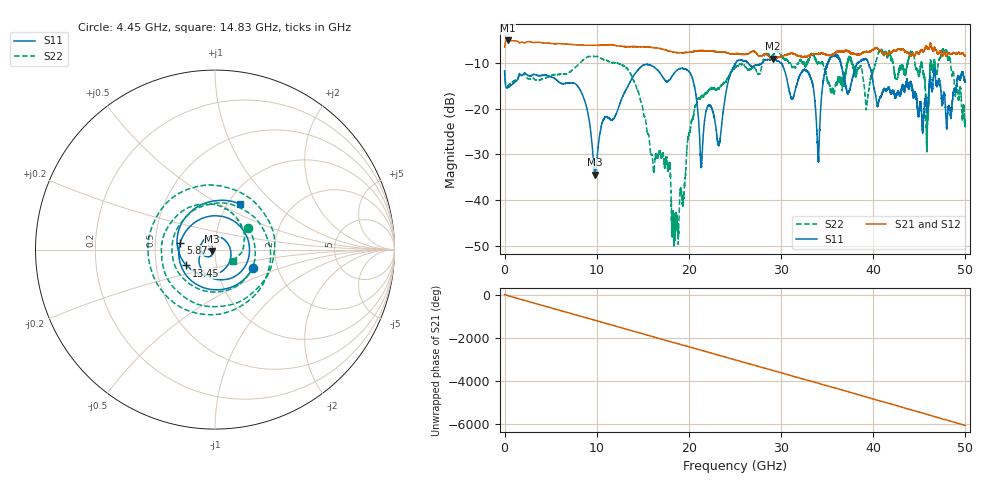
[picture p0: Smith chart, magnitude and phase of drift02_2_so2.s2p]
!Created with skrf (http://scikit-rf.org).
# Hz S RI R 50.0
!freq ReS11 ImS11 ReS21 ImS21 ReS12 ImS12 ReS22 ImS22
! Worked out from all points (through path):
!   10001 points, 300 kHz to 50 GHz, reference 50 ohm
!   highest |S21| = -5.04 dB at 325.3 MHz (marker M1); lowest = -9.0 dB at 29.09 GHz (marker M2)
!   group delay of S21, straight-line fit = 336 ps
!   lowest |S11| = -34.4 dB at 9.83 GHz (marker M3), VSWR 1.04, Z = 48.4 - j0.993 ohm
!   |S11| at or under -10 dB: start of sweep to 25.08 GHz; 30.01 GHz to 35.06 GHz (5.058 GHz wide, 15.5 % of centre); 39.47 GHz to end of sweep (the widest 3 of 10)
!   |S22| runs from -50.1 to -6.8 dB; largest |S21 - S12| = 0.022
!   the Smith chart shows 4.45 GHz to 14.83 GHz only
!   S11 on the Smith chart (normalised r, x): 4.45 GHz: 1.49, -0.33; 5.87 GHz: 0.67, +0.06; 13.45 GHz: 0.72, -0.13; 14.83 GHz: 1.14, +0.63
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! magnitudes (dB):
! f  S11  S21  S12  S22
! 300 kHz  -11.7  -6.5  -6.4  -11.6
! 325.3 MHz  -15.4  -5.0  -5.0  -15.0
! 4.45 GHz  -12.6  -5.6  -5.6  -13.3
! 5.87 GHz  -14.1  -5.7  -5.7  -12.5
! 8.335 GHz  -16.4  -6.0  -6.0  -9.7
! 9.83 GHz  -34.4  -6.1  -6.1  -8.6
! 13.45 GHz  -14.8  -6.4  -6.4  -11.6
! 14.83 GHz  -10.8  -6.4  -6.4  -18.6
! 16.67 GHz  -11.7  -6.7  -6.7  -30.1
! 18.63 GHz  -11.7  -7.7  -7.7  -43.3
! 20.37 GHz  -13.3  -7.5  -7.5  -22.4
! 21.36 GHz  -32.7  -7.3  -7.3  -17.2
! 23.3 GHz  -27.7  -7.6  -7.6  -15.5
! 25 GHz  -10.3  -8.0  -8.0  -11.1
! 29.09 GHz  -9.1  -9.0  -9.0  -8.3
! 33.34 GHz  -14.0  -8.1  -8.2  -8.1
! 34.02 GHz  -31.5  -7.9  -8.0  -10.0
! 35.52 GHz  -8.5  -8.2  -8.1  -16.0
! 41.67 GHz  -15.3  -7.7  -7.8  -7.5
! 45.85 GHz  -20.5  -6.7  -6.8  -23.7
! 47.76 GHz  -17.3  -7.6  -7.5  -7.2
! 50 GHz  -14.1  -8.5  -8.5  -22.8
